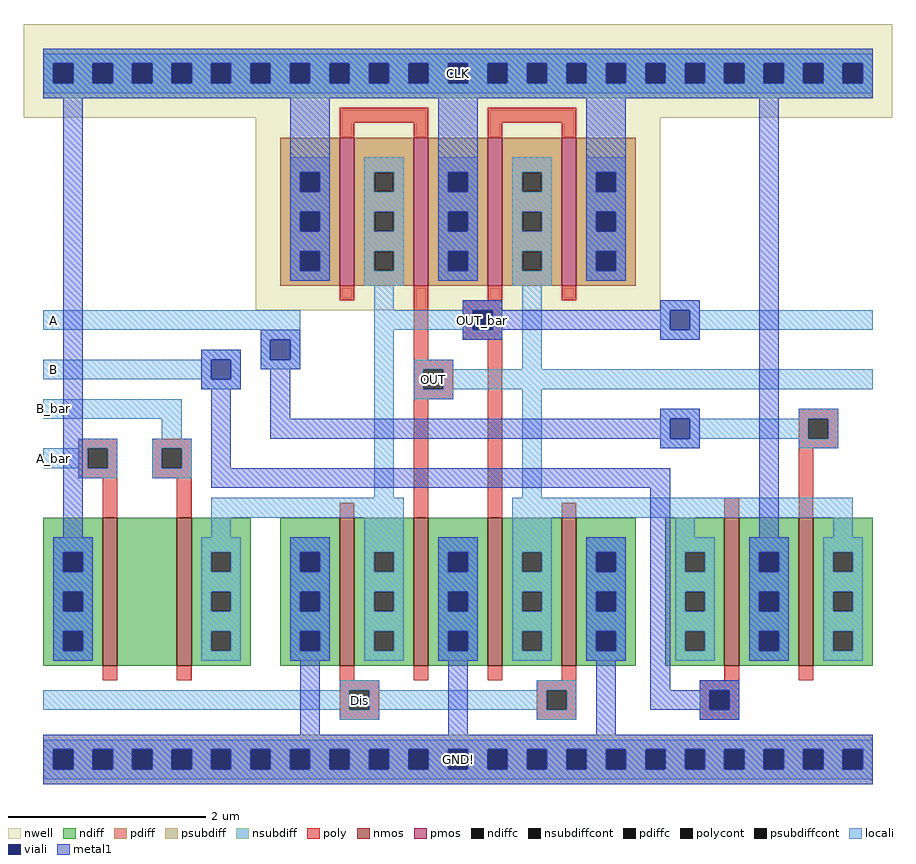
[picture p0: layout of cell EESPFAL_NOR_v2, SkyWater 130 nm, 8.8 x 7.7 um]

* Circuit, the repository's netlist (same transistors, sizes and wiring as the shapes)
* NGSPICE file created from EESPFAL_NOR_v2.ext - technology: sky130A

.subckt EESPFAL_NOR_v2 A A_bar B B_bar OUT OUT_bar Dis GND CLK
X0 OUT_bar Dis GND GND sky130_fd_pr__nfet_01v8 ad=1.8e+12p pd=8.4e+06u as=2.7e+12p ps=1.26e+07u w=1.5e+06u l=150000u
X1 a_n2690_330# A_bar CLK GND sky130_fd_pr__nfet_01v8 ad=9e+11p pd=4.2e+06u as=6e+12p ps=2.62e+07u w=1.5e+06u l=150000u
X2 OUT OUT_bar GND GND sky130_fd_pr__nfet_01v8 ad=2.7e+12p pd=1.26e+07u as=0p ps=0u w=1.5e+06u l=150000u
X3 CLK B OUT GND sky130_fd_pr__nfet_01v8 ad=0p pd=0u as=0p ps=0u w=1.5e+06u l=150000u
X4 CLK OUT_bar OUT CLK sky130_fd_pr__pfet_01v8 ad=2.7e+12p pd=1.26e+07u as=9e+11p ps=4.2e+06u w=1.5e+06u l=150000u M=2
X5 OUT_bar B_bar a_n2690_330# GND sky130_fd_pr__nfet_01v8 ad=0p pd=0u as=0p ps=0u w=1.5e+06u l=150000u
X6 GND OUT OUT_bar GND sky130_fd_pr__nfet_01v8 ad=0p pd=0u as=0p ps=0u w=1.5e+06u l=150000u
X7 GND Dis OUT GND sky130_fd_pr__nfet_01v8 ad=0p pd=0u as=0p ps=0u w=1.5e+06u l=150000u
X8 OUT A CLK GND sky130_fd_pr__nfet_01v8 ad=0p pd=0u as=0p ps=0u w=1.5e+06u l=150000u
X9 OUT_bar OUT CLK CLK sky130_fd_pr__pfet_01v8 ad=9e+11p pd=4.2e+06u as=0p ps=0u w=1.5e+06u l=150000u M=2
.ends

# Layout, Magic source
magic
tech sky130A
<< nwell >>
rect -1440 720 -560 815
rect -1205 525 -795 720
<< nmos >>
rect -1360 165 -1345 315
rect -1285 165 -1270 315
rect -1120 165 -1105 315
rect -1045 165 -1030 315
rect -970 165 -955 315
rect -895 165 -880 315
rect -730 165 -715 315
rect -655 165 -640 315
<< pmos >>
rect -1120 550 -1105 700
rect -1045 550 -1030 700
rect -970 550 -955 700
rect -895 550 -880 700
<< ndiff >>
rect -1420 280 -1360 315
rect -1420 260 -1400 280
rect -1380 260 -1360 280
rect -1420 240 -1360 260
rect -1420 220 -1400 240
rect -1380 220 -1360 240
rect -1420 200 -1360 220
rect -1420 180 -1400 200
rect -1380 180 -1360 200
rect -1420 165 -1360 180
rect -1345 165 -1285 315
rect -1270 280 -1210 315
rect -1270 260 -1250 280
rect -1230 260 -1210 280
rect -1270 240 -1210 260
rect -1270 220 -1250 240
rect -1230 220 -1210 240
rect -1270 200 -1210 220
rect -1270 180 -1250 200
rect -1230 180 -1210 200
rect -1270 165 -1210 180
rect -1180 280 -1120 315
rect -1180 260 -1160 280
rect -1140 260 -1120 280
rect -1180 240 -1120 260
rect -1180 220 -1160 240
rect -1140 220 -1120 240
rect -1180 200 -1120 220
rect -1180 180 -1160 200
rect -1140 180 -1120 200
rect -1180 165 -1120 180
rect -1105 280 -1045 315
rect -1105 260 -1085 280
rect -1065 260 -1045 280
rect -1105 240 -1045 260
rect -1105 220 -1085 240
rect -1065 220 -1045 240
rect -1105 200 -1045 220
rect -1105 180 -1085 200
rect -1065 180 -1045 200
rect -1105 165 -1045 180
rect -1030 280 -970 315
rect -1030 260 -1010 280
rect -990 260 -970 280
rect -1030 240 -970 260
rect -1030 220 -1010 240
rect -990 220 -970 240
rect -1030 200 -970 220
rect -1030 180 -1010 200
rect -990 180 -970 200
rect -1030 165 -970 180
rect -955 280 -895 315
rect -955 260 -935 280
rect -915 260 -895 280
rect -955 240 -895 260
rect -955 220 -935 240
rect -915 220 -895 240
rect -955 200 -895 220
rect -955 180 -935 200
rect -915 180 -895 200
rect -955 165 -895 180
rect -880 280 -820 315
rect -880 260 -860 280
rect -840 260 -820 280
rect -880 240 -820 260
rect -880 220 -860 240
rect -840 220 -820 240
rect -880 200 -820 220
rect -880 180 -860 200
rect -840 180 -820 200
rect -880 165 -820 180
rect -790 280 -730 315
rect -790 260 -770 280
rect -750 260 -730 280
rect -790 240 -730 260
rect -790 220 -770 240
rect -750 220 -730 240
rect -790 200 -730 220
rect -790 180 -770 200
rect -750 180 -730 200
rect -790 165 -730 180
rect -715 280 -655 315
rect -715 260 -695 280
rect -675 260 -655 280
rect -715 240 -655 260
rect -715 220 -695 240
rect -675 220 -655 240
rect -715 200 -655 220
rect -715 180 -695 200
rect -675 180 -655 200
rect -715 165 -655 180
rect -640 280 -580 315
rect -640 260 -620 280
rect -600 260 -580 280
rect -640 240 -580 260
rect -640 220 -620 240
rect -600 220 -580 240
rect -640 200 -580 220
rect -640 180 -620 200
rect -600 180 -580 200
rect -640 165 -580 180
<< pdiff >>
rect -1180 665 -1120 700
rect -1180 645 -1160 665
rect -1140 645 -1120 665
rect -1180 625 -1120 645
rect -1180 605 -1160 625
rect -1140 605 -1120 625
rect -1180 585 -1120 605
rect -1180 565 -1160 585
rect -1140 565 -1120 585
rect -1180 550 -1120 565
rect -1105 665 -1045 700
rect -1105 645 -1085 665
rect -1065 645 -1045 665
rect -1105 625 -1045 645
rect -1105 605 -1085 625
rect -1065 605 -1045 625
rect -1105 585 -1045 605
rect -1105 565 -1085 585
rect -1065 565 -1045 585
rect -1105 550 -1045 565
rect -1030 665 -970 700
rect -1030 645 -1010 665
rect -990 645 -970 665
rect -1030 625 -970 645
rect -1030 605 -1010 625
rect -990 605 -970 625
rect -1030 585 -970 605
rect -1030 565 -1010 585
rect -990 565 -970 585
rect -1030 550 -970 565
rect -955 665 -895 700
rect -955 645 -935 665
rect -915 645 -895 665
rect -955 625 -895 645
rect -955 605 -935 625
rect -915 605 -895 625
rect -955 585 -895 605
rect -955 565 -935 585
rect -915 565 -895 585
rect -955 550 -895 565
rect -880 665 -820 700
rect -880 645 -860 665
rect -840 645 -820 665
rect -880 625 -820 645
rect -880 605 -860 625
rect -840 605 -820 625
rect -880 585 -820 605
rect -880 565 -860 585
rect -840 565 -820 585
rect -880 550 -820 565
<< ndiffc >>
rect -1400 260 -1380 280
rect -1400 220 -1380 240
rect -1400 180 -1380 200
rect -1250 260 -1230 280
rect -1250 220 -1230 240
rect -1250 180 -1230 200
rect -1160 260 -1140 280
rect -1160 220 -1140 240
rect -1160 180 -1140 200
rect -1085 260 -1065 280
rect -1085 220 -1065 240
rect -1085 180 -1065 200
rect -1010 260 -990 280
rect -1010 220 -990 240
rect -1010 180 -990 200
rect -935 260 -915 280
rect -935 220 -915 240
rect -935 180 -915 200
rect -860 260 -840 280
rect -860 220 -840 240
rect -860 180 -840 200
rect -770 260 -750 280
rect -770 220 -750 240
rect -770 180 -750 200
rect -695 260 -675 280
rect -695 220 -675 240
rect -695 180 -675 200
rect -620 260 -600 280
rect -620 220 -600 240
rect -620 180 -600 200
<< pdiffc >>
rect -1160 645 -1140 665
rect -1160 605 -1140 625
rect -1160 565 -1140 585
rect -1085 645 -1065 665
rect -1085 605 -1065 625
rect -1085 565 -1065 585
rect -1010 645 -990 665
rect -1010 605 -990 625
rect -1010 565 -990 585
rect -935 645 -915 665
rect -935 605 -915 625
rect -935 565 -915 585
rect -860 645 -840 665
rect -860 605 -840 625
rect -860 565 -840 585
<< psubdiff >>
rect -1420 80 -580 95
rect -1420 60 -1410 80
rect -1390 60 -1370 80
rect -1350 60 -1330 80
rect -1310 60 -1290 80
rect -1270 60 -1250 80
rect -1230 60 -1210 80
rect -1190 60 -1170 80
rect -1150 60 -1130 80
rect -1110 60 -1090 80
rect -1070 60 -1050 80
rect -1030 60 -1010 80
rect -990 60 -970 80
rect -950 60 -930 80
rect -910 60 -890 80
rect -870 60 -850 80
rect -830 60 -810 80
rect -790 60 -770 80
rect -750 60 -730 80
rect -710 60 -690 80
rect -670 60 -650 80
rect -630 60 -610 80
rect -590 60 -580 80
rect -1420 45 -580 60
<< nsubdiff >>
rect -1420 775 -580 790
rect -1420 755 -1410 775
rect -1390 755 -1370 775
rect -1350 755 -1330 775
rect -1310 755 -1290 775
rect -1270 755 -1250 775
rect -1230 755 -1210 775
rect -1190 755 -1170 775
rect -1150 755 -1130 775
rect -1110 755 -1090 775
rect -1070 755 -1050 775
rect -1030 755 -1010 775
rect -990 755 -970 775
rect -950 755 -930 775
rect -910 755 -890 775
rect -870 755 -850 775
rect -830 755 -810 775
rect -790 755 -770 775
rect -750 755 -730 775
rect -710 755 -690 775
rect -670 755 -650 775
rect -630 755 -610 775
rect -590 755 -580 775
rect -1420 740 -580 755
<< psubdiffcont >>
rect -1410 60 -1390 80
rect -1370 60 -1350 80
rect -1330 60 -1310 80
rect -1290 60 -1270 80
rect -1250 60 -1230 80
rect -1210 60 -1190 80
rect -1170 60 -1150 80
rect -1130 60 -1110 80
rect -1090 60 -1070 80
rect -1050 60 -1030 80
rect -1010 60 -990 80
rect -970 60 -950 80
rect -930 60 -910 80
rect -890 60 -870 80
rect -850 60 -830 80
rect -810 60 -790 80
rect -770 60 -750 80
rect -730 60 -710 80
rect -690 60 -670 80
rect -650 60 -630 80
rect -610 60 -590 80
<< nsubdiffcont >>
rect -1410 755 -1390 775
rect -1370 755 -1350 775
rect -1330 755 -1310 775
rect -1290 755 -1270 775
rect -1250 755 -1230 775
rect -1210 755 -1190 775
rect -1170 755 -1150 775
rect -1130 755 -1110 775
rect -1090 755 -1070 775
rect -1050 755 -1030 775
rect -1010 755 -990 775
rect -970 755 -950 775
rect -930 755 -910 775
rect -890 755 -870 775
rect -850 755 -830 775
rect -810 755 -790 775
rect -770 755 -750 775
rect -730 755 -710 775
rect -690 755 -670 775
rect -650 755 -630 775
rect -610 755 -590 775
<< poly >>
rect -1120 715 -1030 730
rect -1120 700 -1105 715
rect -1045 700 -1030 715
rect -970 715 -880 730
rect -970 700 -955 715
rect -895 700 -880 715
rect -1120 535 -1105 550
rect -1045 475 -1030 550
rect -970 535 -955 550
rect -895 535 -880 550
rect -995 525 -955 535
rect -995 505 -985 525
rect -965 505 -955 525
rect -995 495 -955 505
rect -1045 465 -1005 475
rect -1045 445 -1035 465
rect -1015 445 -1005 465
rect -1045 435 -1005 445
rect -1385 385 -1345 395
rect -1385 365 -1375 385
rect -1355 365 -1345 385
rect -1385 355 -1345 365
rect -1310 385 -1270 395
rect -1310 365 -1300 385
rect -1280 365 -1270 385
rect -1310 355 -1270 365
rect -1360 315 -1345 355
rect -1285 315 -1270 355
rect -1120 315 -1105 330
rect -1045 315 -1030 435
rect -970 315 -955 495
rect -655 415 -615 425
rect -655 395 -645 415
rect -625 395 -615 415
rect -655 385 -615 395
rect -895 315 -880 330
rect -730 315 -715 335
rect -655 315 -640 385
rect -1360 150 -1345 165
rect -1285 150 -1270 165
rect -1120 150 -1105 165
rect -1045 150 -1030 165
rect -970 150 -955 165
rect -895 150 -880 165
rect -730 150 -715 165
rect -655 150 -640 165
rect -1120 140 -1080 150
rect -1120 120 -1110 140
rect -1090 120 -1080 140
rect -1120 110 -1080 120
rect -920 140 -880 150
rect -920 120 -910 140
rect -890 120 -880 140
rect -920 110 -880 120
rect -755 140 -715 150
rect -755 120 -745 140
rect -725 120 -715 140
rect -755 110 -715 120
<< polycont >>
rect -985 505 -965 525
rect -1035 445 -1015 465
rect -1375 365 -1355 385
rect -1300 365 -1280 385
rect -645 395 -625 415
rect -1110 120 -1090 140
rect -910 120 -890 140
rect -745 120 -725 140
<< locali >>
rect -1420 775 -580 785
rect -1420 755 -1410 775
rect -1390 755 -1370 775
rect -1350 755 -1330 775
rect -1310 755 -1290 775
rect -1270 755 -1250 775
rect -1230 755 -1210 775
rect -1190 755 -1170 775
rect -1150 755 -1130 775
rect -1110 755 -1090 775
rect -1070 755 -1050 775
rect -1030 755 -1010 775
rect -990 755 -970 775
rect -950 755 -930 775
rect -910 755 -890 775
rect -870 755 -850 775
rect -830 755 -810 775
rect -790 755 -770 775
rect -750 755 -730 775
rect -710 755 -690 775
rect -670 755 -650 775
rect -630 755 -610 775
rect -590 755 -580 775
rect -1420 745 -580 755
rect -1170 665 -1130 680
rect -1170 645 -1160 665
rect -1140 645 -1130 665
rect -1170 625 -1130 645
rect -1170 605 -1160 625
rect -1140 605 -1130 625
rect -1170 585 -1130 605
rect -1170 565 -1160 585
rect -1140 565 -1130 585
rect -1170 555 -1130 565
rect -1095 665 -1055 680
rect -1095 645 -1085 665
rect -1065 645 -1055 665
rect -1095 625 -1055 645
rect -1095 605 -1085 625
rect -1065 605 -1055 625
rect -1095 585 -1055 605
rect -1095 565 -1085 585
rect -1065 565 -1055 585
rect -1095 550 -1055 565
rect -1020 665 -980 680
rect -1020 645 -1010 665
rect -990 645 -980 665
rect -1020 625 -980 645
rect -1020 605 -1010 625
rect -990 605 -980 625
rect -1020 585 -980 605
rect -1020 565 -1010 585
rect -990 565 -980 585
rect -1020 555 -980 565
rect -945 665 -905 680
rect -945 645 -935 665
rect -915 645 -905 665
rect -945 625 -905 645
rect -945 605 -935 625
rect -915 605 -905 625
rect -945 585 -905 605
rect -945 565 -935 585
rect -915 565 -905 585
rect -945 550 -905 565
rect -870 665 -830 680
rect -870 645 -860 665
rect -840 645 -830 665
rect -870 625 -830 645
rect -870 605 -860 625
rect -840 605 -830 625
rect -870 585 -830 605
rect -870 565 -860 585
rect -840 565 -830 585
rect -870 555 -830 565
rect -1085 525 -1065 550
rect -995 525 -955 535
rect -1420 505 -1160 525
rect -1200 495 -1160 505
rect -1260 475 -1220 485
rect -1420 455 -1250 475
rect -1230 455 -1220 475
rect -1200 475 -1190 495
rect -1170 475 -1160 495
rect -1200 465 -1160 475
rect -1085 505 -985 525
rect -965 505 -955 525
rect -1260 445 -1220 455
rect -1420 415 -1280 435
rect -1300 395 -1280 415
rect -1385 385 -1345 395
rect -1420 365 -1375 385
rect -1355 365 -1345 385
rect -1385 355 -1345 365
rect -1310 385 -1270 395
rect -1310 365 -1300 385
rect -1280 365 -1270 385
rect -1310 355 -1270 365
rect -1085 335 -1065 505
rect -995 495 -955 505
rect -1045 465 -1005 475
rect -935 465 -915 550
rect -795 525 -755 535
rect -795 505 -785 525
rect -765 505 -580 525
rect -795 495 -755 505
rect -1045 445 -1035 465
rect -1015 445 -580 465
rect -1045 435 -1005 445
rect -935 335 -915 445
rect -795 415 -755 425
rect -655 415 -615 425
rect -795 395 -785 415
rect -765 395 -645 415
rect -625 395 -615 415
rect -795 385 -755 395
rect -655 385 -615 395
rect -1250 315 -1055 335
rect -1250 295 -1230 315
rect -1410 280 -1370 295
rect -1410 260 -1400 280
rect -1380 260 -1370 280
rect -1410 240 -1370 260
rect -1410 220 -1400 240
rect -1380 220 -1370 240
rect -1410 200 -1370 220
rect -1410 180 -1400 200
rect -1380 180 -1370 200
rect -1410 170 -1370 180
rect -1260 280 -1220 295
rect -1260 260 -1250 280
rect -1230 260 -1220 280
rect -1260 240 -1220 260
rect -1260 220 -1250 240
rect -1230 220 -1220 240
rect -1260 200 -1220 220
rect -1260 180 -1250 200
rect -1230 180 -1220 200
rect -1260 170 -1220 180
rect -1170 280 -1130 295
rect -1170 260 -1160 280
rect -1140 260 -1130 280
rect -1170 240 -1130 260
rect -1170 220 -1160 240
rect -1140 220 -1130 240
rect -1170 200 -1130 220
rect -1170 180 -1160 200
rect -1140 180 -1130 200
rect -1170 170 -1130 180
rect -1095 280 -1055 315
rect -945 315 -600 335
rect -1095 260 -1085 280
rect -1065 260 -1055 280
rect -1095 240 -1055 260
rect -1095 220 -1085 240
rect -1065 220 -1055 240
rect -1095 200 -1055 220
rect -1095 180 -1085 200
rect -1065 180 -1055 200
rect -1095 170 -1055 180
rect -1020 280 -980 295
rect -1020 260 -1010 280
rect -990 260 -980 280
rect -1020 240 -980 260
rect -1020 220 -1010 240
rect -990 220 -980 240
rect -1020 200 -980 220
rect -1020 180 -1010 200
rect -990 180 -980 200
rect -1020 170 -980 180
rect -945 280 -905 315
rect -780 295 -760 315
rect -620 295 -600 315
rect -945 260 -935 280
rect -915 260 -905 280
rect -945 240 -905 260
rect -945 220 -935 240
rect -915 220 -905 240
rect -945 200 -905 220
rect -945 180 -935 200
rect -915 180 -905 200
rect -945 170 -905 180
rect -870 280 -830 295
rect -870 260 -860 280
rect -840 260 -830 280
rect -870 240 -830 260
rect -870 220 -860 240
rect -840 220 -830 240
rect -870 200 -830 220
rect -870 180 -860 200
rect -840 180 -830 200
rect -870 170 -830 180
rect -780 280 -740 295
rect -780 260 -770 280
rect -750 260 -740 280
rect -780 240 -740 260
rect -780 220 -770 240
rect -750 220 -740 240
rect -780 200 -740 220
rect -780 180 -770 200
rect -750 180 -740 200
rect -780 170 -740 180
rect -705 280 -665 295
rect -705 260 -695 280
rect -675 260 -665 280
rect -705 240 -665 260
rect -705 220 -695 240
rect -675 220 -665 240
rect -705 200 -665 220
rect -705 180 -695 200
rect -675 180 -665 200
rect -705 170 -665 180
rect -630 280 -590 295
rect -630 260 -620 280
rect -600 260 -590 280
rect -630 240 -590 260
rect -630 220 -620 240
rect -600 220 -590 240
rect -630 200 -590 220
rect -630 180 -620 200
rect -600 180 -590 200
rect -630 170 -590 180
rect -1120 140 -1080 150
rect -920 140 -880 150
rect -1420 120 -1110 140
rect -1090 120 -910 140
rect -890 120 -880 140
rect -1120 110 -1080 120
rect -920 110 -880 120
rect -755 140 -715 150
rect -755 120 -745 140
rect -725 120 -715 140
rect -755 110 -715 120
rect -1420 80 -580 90
rect -1420 60 -1410 80
rect -1390 60 -1370 80
rect -1350 60 -1330 80
rect -1310 60 -1290 80
rect -1270 60 -1250 80
rect -1230 60 -1210 80
rect -1190 60 -1170 80
rect -1150 60 -1130 80
rect -1110 60 -1090 80
rect -1070 60 -1050 80
rect -1030 60 -1010 80
rect -990 60 -970 80
rect -950 60 -930 80
rect -910 60 -890 80
rect -870 60 -850 80
rect -830 60 -810 80
rect -790 60 -770 80
rect -750 60 -730 80
rect -710 60 -690 80
rect -670 60 -650 80
rect -630 60 -610 80
rect -590 60 -580 80
rect -1420 50 -580 60
<< viali >>
rect -1410 755 -1390 775
rect -1370 755 -1350 775
rect -1330 755 -1310 775
rect -1290 755 -1270 775
rect -1250 755 -1230 775
rect -1210 755 -1190 775
rect -1170 755 -1150 775
rect -1130 755 -1110 775
rect -1090 755 -1070 775
rect -1050 755 -1030 775
rect -1010 755 -990 775
rect -970 755 -950 775
rect -930 755 -910 775
rect -890 755 -870 775
rect -850 755 -830 775
rect -810 755 -790 775
rect -770 755 -750 775
rect -730 755 -710 775
rect -690 755 -670 775
rect -650 755 -630 775
rect -610 755 -590 775
rect -1160 645 -1140 665
rect -1160 605 -1140 625
rect -1160 565 -1140 585
rect -1010 645 -990 665
rect -1010 605 -990 625
rect -1010 565 -990 585
rect -860 645 -840 665
rect -860 605 -840 625
rect -860 565 -840 585
rect -1250 455 -1230 475
rect -1190 475 -1170 495
rect -985 505 -965 525
rect -785 505 -765 525
rect -785 395 -765 415
rect -1400 260 -1380 280
rect -1400 220 -1380 240
rect -1400 180 -1380 200
rect -1160 260 -1140 280
rect -1160 220 -1140 240
rect -1160 180 -1140 200
rect -1010 260 -990 280
rect -1010 220 -990 240
rect -1010 180 -990 200
rect -860 260 -840 280
rect -860 220 -840 240
rect -860 180 -840 200
rect -695 260 -675 280
rect -695 220 -675 240
rect -695 180 -675 200
rect -745 120 -725 140
rect -1410 60 -1390 80
rect -1370 60 -1350 80
rect -1330 60 -1310 80
rect -1290 60 -1270 80
rect -1250 60 -1230 80
rect -1210 60 -1190 80
rect -1170 60 -1150 80
rect -1130 60 -1110 80
rect -1090 60 -1070 80
rect -1050 60 -1030 80
rect -1010 60 -990 80
rect -970 60 -950 80
rect -930 60 -910 80
rect -890 60 -870 80
rect -850 60 -830 80
rect -810 60 -790 80
rect -770 60 -750 80
rect -730 60 -710 80
rect -690 60 -670 80
rect -650 60 -630 80
rect -610 60 -590 80
<< metal1 >>
rect -1420 775 -580 790
rect -1420 755 -1410 775
rect -1390 755 -1370 775
rect -1350 755 -1330 775
rect -1310 755 -1290 775
rect -1270 755 -1250 775
rect -1230 755 -1210 775
rect -1190 755 -1170 775
rect -1150 755 -1130 775
rect -1110 755 -1090 775
rect -1070 755 -1050 775
rect -1030 755 -1010 775
rect -990 755 -970 775
rect -950 755 -930 775
rect -910 755 -890 775
rect -870 755 -850 775
rect -830 755 -810 775
rect -790 755 -770 775
rect -750 755 -730 775
rect -710 755 -690 775
rect -670 755 -650 775
rect -630 755 -610 775
rect -590 755 -580 775
rect -1420 740 -580 755
rect -1400 295 -1380 740
rect -1170 665 -1130 740
rect -1170 645 -1160 665
rect -1140 645 -1130 665
rect -1170 625 -1130 645
rect -1170 605 -1160 625
rect -1140 605 -1130 625
rect -1170 585 -1130 605
rect -1170 565 -1160 585
rect -1140 565 -1130 585
rect -1170 555 -1130 565
rect -1020 665 -980 740
rect -1020 645 -1010 665
rect -990 645 -980 665
rect -1020 625 -980 645
rect -1020 605 -1010 625
rect -990 605 -980 625
rect -1020 585 -980 605
rect -1020 565 -1010 585
rect -990 565 -980 585
rect -1020 555 -980 565
rect -870 665 -830 740
rect -870 645 -860 665
rect -840 645 -830 665
rect -870 625 -830 645
rect -870 605 -860 625
rect -840 605 -830 625
rect -870 585 -830 605
rect -870 565 -860 585
rect -840 565 -830 585
rect -870 555 -830 565
rect -995 525 -955 535
rect -795 525 -755 535
rect -995 505 -985 525
rect -965 505 -785 525
rect -765 505 -755 525
rect -1200 495 -1160 505
rect -995 495 -955 505
rect -795 495 -755 505
rect -1260 475 -1220 485
rect -1260 455 -1250 475
rect -1230 455 -1220 475
rect -1200 475 -1190 495
rect -1170 475 -1160 495
rect -1200 465 -1160 475
rect -1260 445 -1220 455
rect -1250 365 -1230 445
rect -1190 415 -1170 465
rect -795 415 -755 425
rect -1190 395 -785 415
rect -765 395 -755 415
rect -795 385 -755 395
rect -1250 345 -785 365
rect -1410 280 -1370 295
rect -1410 260 -1400 280
rect -1380 260 -1370 280
rect -1410 240 -1370 260
rect -1410 220 -1400 240
rect -1380 220 -1370 240
rect -1410 200 -1370 220
rect -1410 180 -1400 200
rect -1380 180 -1370 200
rect -1410 170 -1370 180
rect -1170 280 -1130 295
rect -1170 260 -1160 280
rect -1140 260 -1130 280
rect -1170 240 -1130 260
rect -1170 220 -1160 240
rect -1140 220 -1130 240
rect -1170 200 -1130 220
rect -1170 180 -1160 200
rect -1140 180 -1130 200
rect -1170 170 -1130 180
rect -1020 280 -980 295
rect -1020 260 -1010 280
rect -990 260 -980 280
rect -1020 240 -980 260
rect -1020 220 -1010 240
rect -990 220 -980 240
rect -1020 200 -980 220
rect -1020 180 -1010 200
rect -990 180 -980 200
rect -1020 170 -980 180
rect -870 280 -830 295
rect -870 260 -860 280
rect -840 260 -830 280
rect -870 240 -830 260
rect -870 220 -860 240
rect -840 220 -830 240
rect -870 200 -830 220
rect -870 180 -860 200
rect -840 180 -830 200
rect -870 170 -830 180
rect -1160 95 -1140 170
rect -1010 95 -990 170
rect -860 95 -840 170
rect -805 140 -785 345
rect -695 295 -675 740
rect -705 280 -665 295
rect -705 260 -695 280
rect -675 260 -665 280
rect -705 240 -665 260
rect -705 220 -695 240
rect -675 220 -665 240
rect -705 200 -665 220
rect -705 180 -695 200
rect -675 180 -665 200
rect -705 170 -665 180
rect -755 140 -715 150
rect -805 120 -745 140
rect -725 120 -715 140
rect -755 110 -715 120
rect -1420 80 -580 95
rect -1420 60 -1410 80
rect -1390 60 -1370 80
rect -1350 60 -1330 80
rect -1310 60 -1290 80
rect -1270 60 -1250 80
rect -1230 60 -1210 80
rect -1190 60 -1170 80
rect -1150 60 -1130 80
rect -1110 60 -1090 80
rect -1070 60 -1050 80
rect -1030 60 -1010 80
rect -990 60 -970 80
rect -950 60 -930 80
rect -910 60 -890 80
rect -870 60 -850 80
rect -830 60 -810 80
rect -790 60 -770 80
rect -750 60 -730 80
rect -710 60 -690 80
rect -670 60 -650 80
rect -630 60 -610 80
rect -590 60 -580 80
rect -1420 45 -580 60
<< labels >>
rlabel locali -1415 510 -1405 520 7 A
port 1 w
rlabel locali -1415 460 -1405 470 7 B
port 3 w
rlabel viali -985 505 -965 525 7 OUT_bar
port 6 w
rlabel locali -1035 445 -1015 465 7 OUT
port 5 w
rlabel locali -1110 120 -1090 140 7 Dis
port 7 w
rlabel metal1 -1010 755 -990 775 7 CLK
port 9 w
rlabel locali -1415 420 -1405 430 7 B_bar
port 4 w
rlabel locali -1415 370 -1405 380 7 A_bar
port 2 w
rlabel metal1 -1010 60 -990 80 7 GND!
port 8 w
<< end >>
